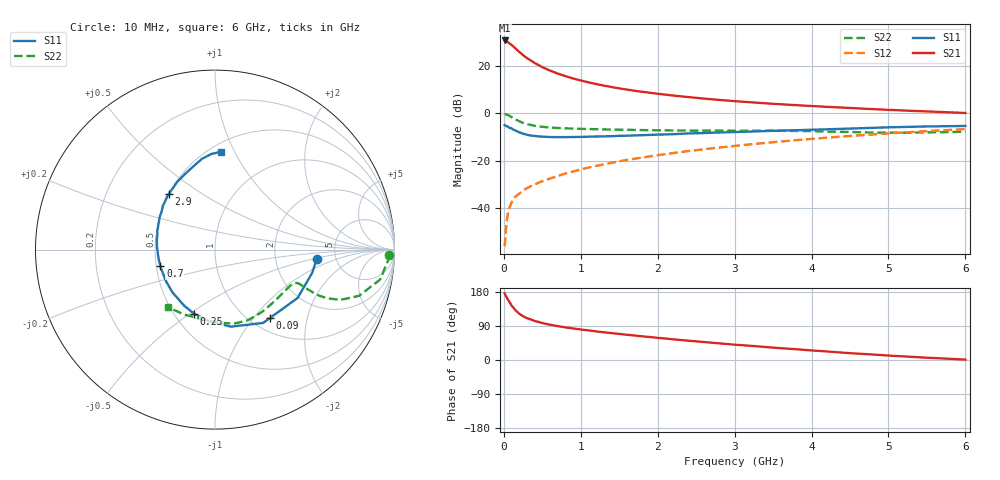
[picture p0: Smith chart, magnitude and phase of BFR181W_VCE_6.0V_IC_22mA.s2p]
! Infineon Technologies  Discrete & RF Semiconductors
! BFR181W
! VCE =  6.0 V,  IC =  22 mA
! Common Emitter S-Parameters:  Jan 2017
# GHz  S  MA  R  50
!  f  S11  S21  S12  S22
! GHz  MAG  ANG  MAG  ANG  MAG  ANG  MAG  ANG
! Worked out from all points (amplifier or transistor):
!   77 points, 10 MHz to 6 GHz, reference 50 ohm
!   highest |S21| = 30.8 dB at 10 MHz (marker M1)
!   |S21| within 3 dB of that: start of sweep to 138.5 MHz
!   unconditionally stable (mu >= 1): 603.1 MHz to 2.417 GHz
!   at 130 MHz: K = 0.43, MSG = 32.0 dB, |S12| = -36.0 dB
!   at 2.2 GHz: K = 1.03, MAG = 11.1 dB, |S12| = -16.7 dB
!   at 6 GHz: K = 0.83, MSG = 3.4 dB, |S12| = -6.6 dB
!   S11 on the Smith chart (normalised r, x): 10 MHz: 3.56, -0.54; 90 MHz: 1.22, -1.22; 250 MHz: 0.62, -0.52; 700 MHz: 0.53, -0.11; 2.9 GHz: 0.50, +0.37; 6 GHz: 0.57, +0.89
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0.01  0.5697 -5.2  34.57 176.0  0.0016 81.9  0.9722 -1.7
0.02  0.5568 -13.4  34.04 171.4  0.0024 102.1  0.965 -3.8
0.05  0.5335 -30.3  32.3 160.2  0.0075 77.7  0.9347 -10.3
0.09  0.4888 -51.1  28.61 147.2  0.0121 72.0  0.8598 -16.2
0.1  0.4887 -56.7  27.95 143.5  0.0133 71.2  0.8427 -17.8
0.15  0.4386 -78.3  23.57 131.5  0.0177 66.5  0.754 -21.8
0.2  0.4015 -94.4  19.83 122.3  0.0204 64.7  0.6839 -23.4
0.25  0.3754 -108.2  16.97 115.5  0.0238 63.7  0.6335 -23.9
0.3  0.3566 -118.9  14.7 110.4  0.0267 64.5  0.5959 -23.6
0.4  0.3361 -134.8  11.59 102.9  0.032 66.1  0.5503 -23.0
0.5  0.3251 -146.7  9.467 97.5  0.0374 68.2  0.5231 -22.4
0.6  0.3188 -155.7  8.015 93.1  0.0425 69.3  0.5064 -22.1
0.7  0.3179 -163.0  6.936 89.5  0.048 70.4  0.4949 -22.1
0.9  0.3189 -174.9  5.467 83.2  0.0598 72.4  0.4802 -23.0
1.1  0.3242 176.2  4.532 78.1  0.0726 73.7  0.4706 -24.5
1.5  0.3385 162.1  3.383 68.8  0.0981 74.2  0.4554 -29.0
2.1  0.3621 146.4  2.494 56.6  0.1391 73.1  0.4404 -38.8
2.9  0.402 130.0  1.874 42.2  0.1992 69.3  0.4339 -54.3
3.1  0.4106 126.3  1.773 39.0  0.2153 68.0  0.4326 -58.1
4.1  0.459 109.8  1.408 23.9  0.3 60.3  0.4205 -77.8
5.1  0.5151 96.9  1.174 10.6  0.3886 50.8  0.3932 -104.2
6  0.5462 86.3  1.026 1.0  0.4686 41.2  0.4142 -129.4
